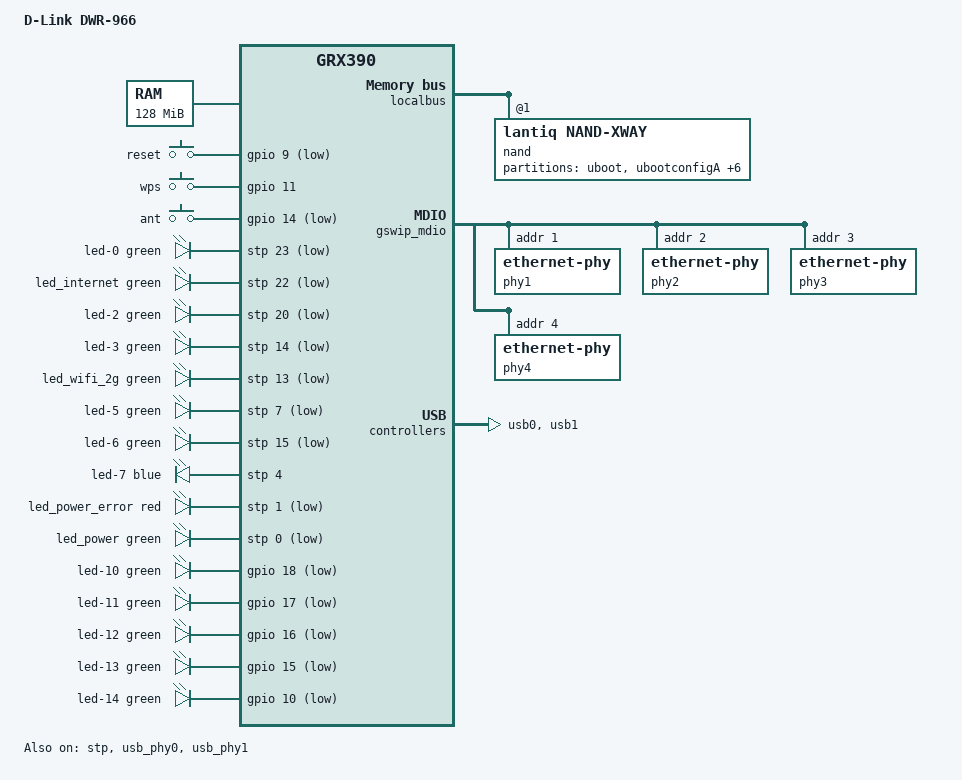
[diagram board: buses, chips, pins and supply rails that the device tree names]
// SPDX-License-Identifier: GPL-2.0-or-later OR MIT
/dts-v1/;

#include "xrx330.dtsi"

#include <dt-bindings/input/input.h>
#include <dt-bindings/leds/common.h>

/ {
	compatible = "dlink,dwr-966", "lantiq,xway", "lantiq,grx390";
	model = "D-Link DWR-966";

	chosen {
		bootargs = "console=ttyLTQ0,115200";
	};

	memory@0 {
		reg = <0x0 0x8000000>;
	};

	aliases {
		led-boot = &led_power_error;
		led-failsafe = &led_power_error;
		led-running = &led_power;
		led-upgrade = &led_power_error;

		led-internet = &led_internet;
		led-wifi = &led_wifi_2g;
	};

	keys {
		compatible = "gpio-keys-polled";
		poll-interval = <100>;

		reset {
			label = "reset";
			gpios = <&gpio 9 GPIO_ACTIVE_LOW>;
			linux,code = <KEY_RESTART>;
		};

		wps {
			label = "wps";
			gpios = <&gpio 11 GPIO_ACTIVE_HIGH>;
			linux,code = <KEY_WPS_BUTTON>;
		};

		ant {
			label = "ant";
			gpios = <&gpio 14 GPIO_ACTIVE_LOW>;
			linux,code = <BTN_0>;
		};
	};

	leds {
		compatible = "gpio-leds";

		led-0 {
			color = <LED_COLOR_ID_GREEN>;
			function = LED_FUNCTION_WPS;
			gpios = <&stp 23 GPIO_ACTIVE_LOW>;
		};

		led_internet: led-1 {
			color = <LED_COLOR_ID_GREEN>;
			function = LED_FUNCTION_WAN_ONLINE;
			gpios = <&stp 22 GPIO_ACTIVE_LOW>;
		};

		led-2 {
			color = <LED_COLOR_ID_GREEN>;
			function = "ant_ind";
			gpios = <&stp 20 GPIO_ACTIVE_LOW>;
		};

		led-3 {
			color = <LED_COLOR_ID_GREEN>;
			function = LED_FUNCTION_WLAN_5GHZ;
			gpios = <&stp 14 GPIO_ACTIVE_LOW>;
		};

		led_wifi_2g: led-4 {
			color = <LED_COLOR_ID_GREEN>;
			function = LED_FUNCTION_WLAN_2GHZ;
			gpios = <&stp 13 GPIO_ACTIVE_LOW>;
		};

		led-5 {
			color = <LED_COLOR_ID_GREEN>;
			function = "4g_link";
			gpios = <&stp 7 GPIO_ACTIVE_LOW>;
		};

		led-6 {
			color = <LED_COLOR_ID_GREEN>;
			function = "3g_link";
			gpios = <&stp 15 GPIO_ACTIVE_LOW>;
		};

		led-7 {
			color = <LED_COLOR_ID_BLUE>;
			function = "2g_link";
			gpios = <&stp 4 GPIO_ACTIVE_HIGH>;
		};

		led_power_error: led-8 {
			color = <LED_COLOR_ID_RED>;
			function = LED_FUNCTION_POWER;
			gpios = <&stp 1 GPIO_ACTIVE_LOW>;
		};

		led_power: led-9 {
			color = <LED_COLOR_ID_GREEN>;
			function = LED_FUNCTION_POWER;
			gpios = <&stp 0 GPIO_ACTIVE_LOW>;
		};

		led-10 {
			color = <LED_COLOR_ID_GREEN>;
			function = "rssi";
			function-enumerator = <1>;
			gpios = <&gpio 18 GPIO_ACTIVE_LOW>;
		};

		led-11 {
			color = <LED_COLOR_ID_GREEN>;
			function = "rssi";
			function-enumerator = <2>;
			gpios = <&gpio 17 GPIO_ACTIVE_LOW>;
		};

		led-12 {
			color = <LED_COLOR_ID_GREEN>;
			function = "rssi";
			function-enumerator = <3>;
			gpios = <&gpio 16 GPIO_ACTIVE_LOW>;
		};

		led-13 {
			color = <LED_COLOR_ID_GREEN>;
			function = "rssi";
			function-enumerator = <4>;
			gpios = <&gpio 15 GPIO_ACTIVE_LOW>;
		};

		led-14 {
			color = <LED_COLOR_ID_GREEN>;
			function = "rssi";
			function-enumerator = <5>;
			gpios = <&gpio 10 GPIO_ACTIVE_LOW>;
		};
	};
};

&localbus {
	nand@1 {
		compatible = "lantiq,nand-xway";
		lantiq,cs = <1>;
		bank-width = <2>;
		reg = <1 0x0 0x2000000>;
		#address-cells = <1>;
		#size-cells = <1>;

		partitions {
			compatible = "fixed-partitions";
			#address-cells = <1>;
			#size-cells = <1>;

			partition@0 {
				label = "uboot";
				reg = <0x0 0x100000>;
				read-only;
			};

			partition@100000 {
				label = "ubootconfigA";
				reg = <0x100000 0x40000>;
				read-only;
			};

			partition@140000 {
				label = "ubootconfigB";
				reg = <0x140000 0x40000>;
				read-only;
			};

			partition@180000 {
				label = "gphyfirmware";
				read-only;
				reg = <0x180000 0x40000>;
			};

			partition@1c0000 {
				label = "ubi";
				reg = <0x1c0000 0x7c00000>;
			};

			partition@7dc0000 {
				label = "calibration";
				reg = <0x7dc0000 0x100000>;
				read-only;
			};

			partition@7ec0000 {
				label = "factory";
				reg = <0x7ec0000 0x100000>;
				read-only;
			};

			partition@7fc0000 {
				label = "res";
				reg = <0x7fc0000 0x40000>;
				read-only;
			};
		};
	};
};

&gswip_mdio {
	phy1: ethernet-phy@1 {
		reg = <0x1>;

		leds {
			#address-cells = <1>;
			#size-cells = <0>;

			led@1 {
				reg = <1>;
				color = <LED_COLOR_ID_GREEN>;
				function = LED_FUNCTION_LAN;
			};
		};
	};

	phy2: ethernet-phy@2 {
		reg = <0x2>;

		leds {
			#address-cells = <1>;
			#size-cells = <0>;

			led@1 {
				reg = <1>;
				color = <LED_COLOR_ID_GREEN>;
				function = LED_FUNCTION_LAN;
			};

		};
	};

	phy3: ethernet-phy@3 {
		reg = <0x3>;

		leds {
			#address-cells = <1>;
			#size-cells = <0>;

			led@1 {
				reg = <1>;
				color = <LED_COLOR_ID_GREEN>;
				function = LED_FUNCTION_LAN;
			};

		};
	};

	phy4: ethernet-phy@4 {
		reg = <0x4>;

		leds {
			#address-cells = <1>;
			#size-cells = <0>;

			led@1 {
				reg = <1>;
				color = <LED_COLOR_ID_GREEN>;
				function = LED_FUNCTION_LAN;
			};
		};
	};
};

&gswip_ports {
	port@1 {
		reg = <1>;
		label = "lan3";
		phy-mode = "internal";
		phy-handle = <&phy1>;
	};

	port@2 {
		reg = <2>;
		label = "lan1";
		phy-mode = "internal";
		phy-handle = <&phy2>;
	};

	port@3 {
		reg = <3>;
		label = "lan4";
		phy-mode = "internal";
		phy-handle = <&phy3>;
	};

	port@4 {
		reg = <4>;
		label = "lan2";
		phy-mode = "internal";
		phy-handle = <&phy4>;
	};
};

&gpio {
	pinctrl-names = "default";
	pinctrl-0 = <&state_default>;

	state_default: pinmux {
		nand_out {
			lantiq,groups = "nand cle",
					"nand ale",
					"nand rd",
					"nand d1",
					"nand d0",
					"nand d2",
					"nand d7",
					"nand d6",
					"nand d5",
					"nand d4",
					"nand d3",
					"nand wr",
					"nand wp",
					"nand se";
			lantiq,function = "ebu";
			lantiq,output = <1>;
			lantiq,open-drain = <0>;
			lantiq,pull = <0>;
		};

		nand {
			lantiq,groups = "nand cs1", "nand rdy";
			lantiq,function = "ebu";
			lantiq,pull = <0>;
		};
	};
};

&stp {
	status = "okay";
	lantiq,phy1 = <0x2>;
	lantiq,phy2 = <0x2>;
	lantiq,phy3 = <0x2>;
	lantiq,phy4 = <0x2>;
};

&usb_phy0 {
	status = "okay";
};

&usb0 {
	status = "okay";
};

&usb_phy1 {
	status = "okay";
};

&usb1 {
	status = "okay";
};
